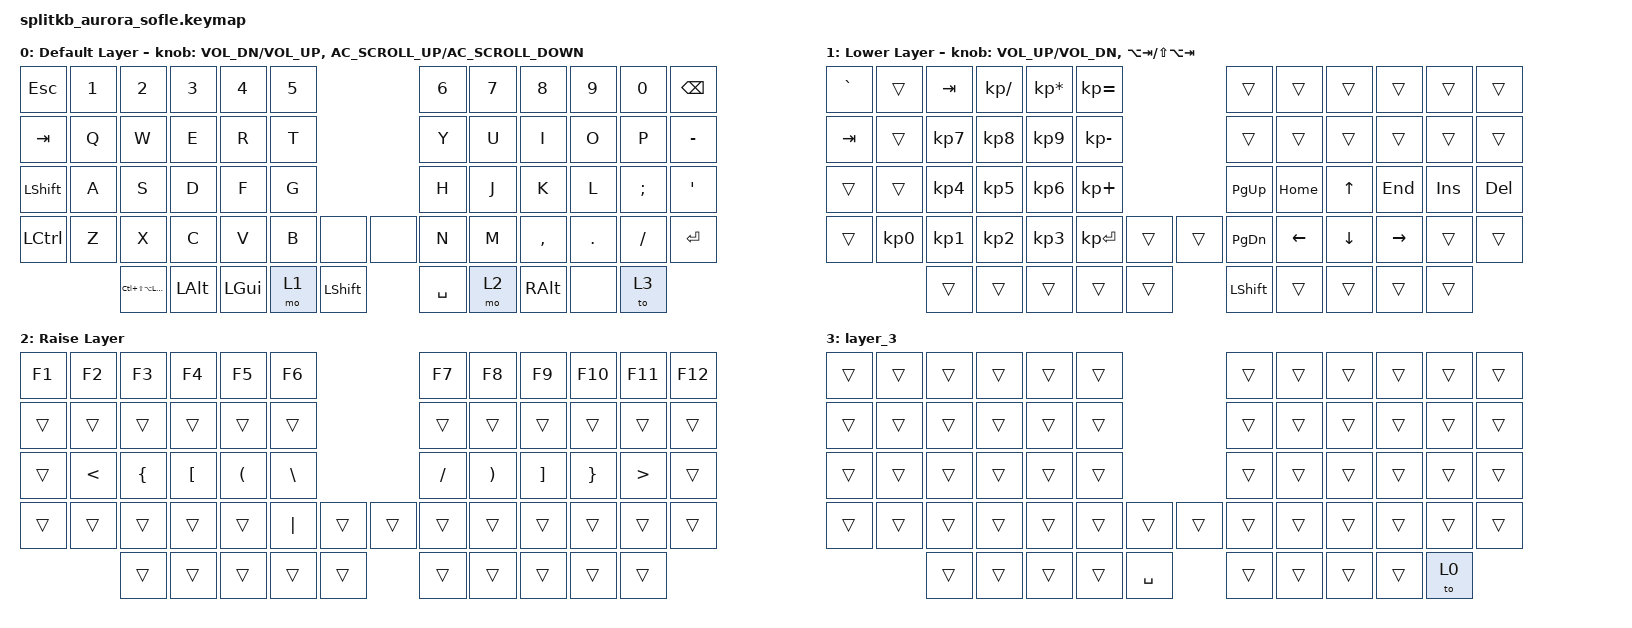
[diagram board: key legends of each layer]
/*
 * Copyright (c) 2023 The ZMK Contributors
 *
 * SPDX-License-Identifier: MIT
 */

#include <behaviors.dtsi>
#include <dt-bindings/zmk/keys.h>

/* Per-half SK6812 chain: 29 = per-key only (Aurora Sofle half). Use <35> if you also soldered the 6 bottom WS2812s per half. */

&led_strip { chain-length = <29>; };

/ {
    keymap {
        compatible = "zmk,keymap";

        default_layer {
            display-name = "Default Layer";

            // ------------------------------------------------------------------------------------------------------------
            // |  ESC  |  1  |  2  |  3   |  4   |  5   |                   |  6   |  7    |  8    |  9   |   0   | BSPC  |
            // |  TAB  |  Q  |  W  |  E   |  R   |  T   |                   |  Y   |  U    |  I    |  O   |   P   |   -   |
            // | SHIFT |  A  |  S  |  D   |  F   |  G   |                   |  H   |  J    |  K    |  L   |   ;   |   '   |
            // | CTRL  |  Z  |  X  |  C   |  V   |  B   |   —   |  |   —   |  N   |  M    |  ,    |  .   |   /   | ENT   |
            //               |HYPER| LALT | GUI  |LOWER | LSHFT | SPACE |  | RAISE | RALT |  —    |  L3   |

            bindings = <
&kp ESC         &kp N1  &kp N2  &kp N3        &kp N4    &kp N5                           &kp N6  &kp N7         &kp N8     &kp N9   &kp N0    &kp BACKSPACE
&kp TAB         &kp Q   &kp W   &kp E         &kp R     &kp T                            &kp Y   &kp U          &kp I      &kp O    &kp P     &kp MINUS
&kp LEFT_SHIFT  &kp A   &kp S   &kp D         &kp F     &kp G                            &kp H   &kp J          &kp K      &kp L    &kp SEMI  &kp SQT
&kp LCTRL       &kp Z   &kp X   &kp C         &kp V     &kp B   &none         &none      &kp N   &kp M          &kp COMMA  &kp DOT  &kp FSLH  &kp ENTER
                        &kp LC(LS(LA(LGUI)))  &kp LEFT_ALT  &kp LGUI  &mo 1  &kp LSHIFT    &kp SPACE  &mo 2  &kp RIGHT_ALT  &none  &to 3
            >;

            sensor-bindings =
                <&inc_dec_kp C_VOL_DN C_VOL_UP>,
                <&inc_dec_kp C_AC_SCROLL_UP C_AC_SCROLL_DOWN>;
        };

        lower_layer {
            display-name = "Lower Layer";

            // ------------------------------------------------------------------------------------------------------------
            // |   `   |  —  |  —  |  —   |  —   |  —   |                   |  —   |  —    |  —    |  —   |  —    |  —    |
            // |   —   |  —  |  —  |  —   |  —   |  —   |                   |  —   |  —    |  —    |  —   |  —    |  —    |
            // |   —   |  —  |  —  |  —   |  —   |  —   |                   | PG↑  | HOME  |   ↑   | END  | INS   | DEL   |
            // |   —   |  —  |  —  |  —   |  —   |  —   |   —   |  |   —   | PG↓  |   ←   |   ↓   |  →   |  —    |  —    |
            //               |  —  |  —   |  —   |  —   | LSHFT |   —   |  |   —   |  —   |  —    |  —   |

            bindings = <
&kp GRAVE  &trans     &kp TAB          &kp KP_SLASH     &kp KP_ASTERISK  &kp KP_EQUAL                            &trans     &trans          &trans        &trans           &trans   &trans
&kp TAB    &trans     &kp KP_NUMBER_7  &kp KP_NUMBER_8  &kp KP_NUMBER_9  &kp KP_MINUS                            &trans     &trans          &trans        &trans           &trans   &trans
&trans     &trans     &kp KP_NUMBER_4  &kp KP_NUMBER_5  &kp KP_NUMBER_6  &kp KP_PLUS                             &kp PG_UP  &kp HOME        &kp UP_ARROW  &kp END          &kp INS  &kp DEL
&trans     &kp KP_N0  &kp KP_NUMBER_1  &kp KP_NUMBER_2  &kp KP_NUMBER_3  &kp KP_ENTER  &trans    &trans          &kp PG_DN  &kp LEFT_ARROW  &kp DOWN      &kp RIGHT_ARROW  &trans   &trans
                      &trans           &trans           &trans           &trans        &trans    &kp LEFT_SHIFT  &trans     &trans          &trans        &trans
            >;

            sensor-bindings =
                <&inc_dec_kp C_VOL_UP C_VOL_DN>,
                <&inc_dec_kp LA(TAB) LS(LA(TAB))>;
        };

        layer_2 {
            display-name = "Raise Layer";

            // ------------------------------------------------------------------------------------------------------------
            // |  F1   | F2  | F3  |  F4  |  F5  |  F6  |                   | F7  | F8   | F9   | F10 | F11 | F12 |
            // |   —   | —   | —   |  —   |  —   |  —   |                   | —   | —    | —    | —   | —   | —   |
            // |   —   |  <  |  {  |  [   |  (   |  \   |                   |  /  |  )   |  ]   |  }  |  >  | —   |
            // |   —   | —   | —   |  —   |  —   | PIPE |   —   |  |   —   | —   | —    | —    | —   | —   | —   |
            //               |  —  |  —   |  —   |  —   |  —    |  —   |  |   —   |  —   |  —    |  —   |

            bindings = <
&kp F1  &kp F2         &kp F3          &kp F4            &kp F5                &kp F6                           &kp F7     &kp F8                 &kp F9             &kp F10          &kp F11           &kp F12
&trans  &trans         &trans          &trans            &trans                &trans                           &trans     &trans                 &trans             &trans           &trans            &trans
&trans  &kp LESS_THAN  &kp LEFT_BRACE  &kp LEFT_BRACKET  &kp LEFT_PARENTHESIS  &kp BACKSLASH                    &kp SLASH  &kp RIGHT_PARENTHESIS  &kp RIGHT_BRACKET  &kp RIGHT_BRACE  &kp GREATER_THAN  &trans
&trans  &trans         &trans          &trans            &trans                &kp PIPE       &trans    &trans  &trans     &trans                 &trans             &trans           &trans            &trans
                       &trans          &trans            &trans                &trans         &trans    &trans  &trans     &trans                 &trans             &trans
            >;
        };

        layer_3 {
            bindings = <
&trans  &trans  &trans  &trans  &trans  &trans                       &trans  &trans  &trans  &trans  &trans  &trans
&trans  &trans  &trans  &trans  &trans  &trans                       &trans  &trans  &trans  &trans  &trans  &trans
&trans  &trans  &trans  &trans  &trans  &trans                       &trans  &trans  &trans  &trans  &trans  &trans
&trans  &trans  &trans  &trans  &trans  &trans  &trans       &trans  &trans  &trans  &trans  &trans  &trans  &trans
                &trans  &trans  &trans  &trans  &kp SPACE    &trans  &trans  &trans  &trans  &to 0
            >;
        };
    };
};
